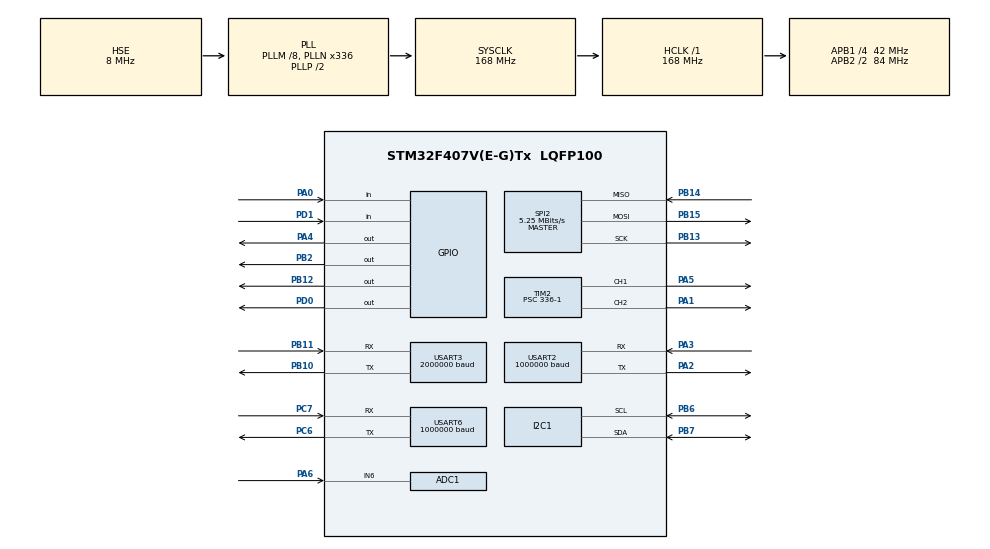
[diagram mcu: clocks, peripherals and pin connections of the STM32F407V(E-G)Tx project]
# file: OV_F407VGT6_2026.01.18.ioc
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ADC1.Channel-0\#ChannelRegularConversion=ADC_CHANNEL_6
ADC1.ContinuousConvMode=ENABLE
ADC1.DMAContinuousRequests=ENABLE
ADC1.NbrOfConversionFlag=1
ADC1.Rank-0\#ChannelRegularConversion=1
ADC1.SamplingTime-0\#ChannelRegularConversion=ADC_SAMPLETIME_84CYCLES
ADC1.master=1
Dma.ADC1.2.Direction=DMA_PERIPH_TO_MEMORY
Dma.ADC1.2.FIFOMode=DMA_FIFOMODE_DISABLE
Dma.ADC1.2.Instance=DMA2_Stream0
Dma.ADC1.2.MemDataAlignment=DMA_MDATAALIGN_HALFWORD
Dma.ADC1.2.MemInc=DMA_MINC_ENABLE
Dma.ADC1.2.Mode=DMA_CIRCULAR
Dma.ADC1.2.PeriphDataAlignment=DMA_PDATAALIGN_HALFWORD
Dma.ADC1.2.PeriphInc=DMA_PINC_DISABLE
Dma.ADC1.2.Priority=DMA_PRIORITY_VERY_HIGH
Dma.I2C1_TX.4.Direction=DMA_MEMORY_TO_PERIPH
Dma.I2C1_TX.4.FIFOMode=DMA_FIFOMODE_DISABLE
Dma.I2C1_TX.4.Instance=DMA1_Stream6
Dma.I2C1_TX.4.MemDataAlignment=DMA_MDATAALIGN_BYTE
Dma.I2C1_TX.4.MemInc=DMA_MINC_ENABLE
Dma.I2C1_TX.4.Mode=DMA_NORMAL
Dma.I2C1_TX.4.PeriphDataAlignment=DMA_PDATAALIGN_BYTE
Dma.I2C1_TX.4.PeriphInc=DMA_PINC_DISABLE
Dma.I2C1_TX.4.Priority=DMA_PRIORITY_LOW
Dma.Request0=USART2_RX
Dma.Request1=USART3_TX
Dma.Request2=ADC1
Dma.Request3=USART6_TX
Dma.Request4=I2C1_TX
Dma.USART2_RX.0.Direction=DMA_PERIPH_TO_MEMORY
Dma.USART2_RX.0.FIFOMode=DMA_FIFOMODE_DISABLE
Dma.USART2_RX.0.Instance=DMA1_Stream5
Dma.USART2_RX.0.MemDataAlignment=DMA_MDATAALIGN_BYTE
Dma.USART2_RX.0.MemInc=DMA_MINC_ENABLE
Dma.USART2_RX.0.Mode=DMA_CIRCULAR
Dma.USART2_RX.0.PeriphDataAlignment=DMA_PDATAALIGN_BYTE
Dma.USART2_RX.0.PeriphInc=DMA_PINC_DISABLE
Dma.USART2_RX.0.Priority=DMA_PRIORITY_LOW
Dma.USART3_TX.1.Direction=DMA_MEMORY_TO_PERIPH
Dma.USART3_TX.1.FIFOMode=DMA_FIFOMODE_DISABLE
Dma.USART3_TX.1.Instance=DMA1_Stream3
Dma.USART3_TX.1.MemDataAlignment=DMA_MDATAALIGN_BYTE
Dma.USART3_TX.1.MemInc=DMA_MINC_ENABLE
Dma.USART3_TX.1.Mode=DMA_NORMAL
Dma.USART3_TX.1.PeriphDataAlignment=DMA_PDATAALIGN_BYTE
Dma.USART3_TX.1.PeriphInc=DMA_PINC_DISABLE
Dma.USART3_TX.1.Priority=DMA_PRIORITY_VERY_HIGH
Dma.USART6_TX.3.Direction=DMA_MEMORY_TO_PERIPH
Dma.USART6_TX.3.FIFOMode=DMA_FIFOMODE_DISABLE
Dma.USART6_TX.3.Instance=DMA2_Stream6
Dma.USART6_TX.3.MemDataAlignment=DMA_MDATAALIGN_BYTE
Dma.USART6_TX.3.MemInc=DMA_MINC_ENABLE
Dma.USART6_TX.3.Mode=DMA_CIRCULAR
Dma.USART6_TX.3.PeriphDataAlignment=DMA_PDATAALIGN_BYTE
Dma.USART6_TX.3.PeriphInc=DMA_PINC_DISABLE
Dma.USART6_TX.3.Priority=DMA_PRIORITY_HIGH
I2C1.I2C_Mode=I2C_Fast
Mcu.Family=STM32F4
Mcu.Name=STM32F407V(E-G)Tx
Mcu.Package=LQFP100
NVIC.DMA1_Stream3_IRQn=true\:0\:0\:false\:false\:true\:false\:true\:true
NVIC.DMA1_Stream5_IRQn=true\:0\:0\:false\:false\:true\:false\:true\:true
NVIC.DMA1_Stream6_IRQn=true\:3\:1\:true\:false\:true\:false\:true\:true
NVIC.DMA2_Stream0_IRQn=true\:0\:0\:false\:false\:true\:false\:true\:true
NVIC.DMA2_Stream6_IRQn=true\:0\:0\:false\:false\:true\:false\:true\:true
NVIC.FLASH_IRQn=true\:0\:0\:false\:false\:true\:true\:true\:true
NVIC.I2C1_ER_IRQn=true\:2\:0\:true\:false\:true\:true\:true\:true
NVIC.I2C1_EV_IRQn=true\:3\:0\:true\:false\:true\:true\:true\:true
NVIC.PriorityGroup=NVIC_PRIORITYGROUP_3
NVIC.TIM1_UP_TIM10_IRQn=true\:2\:1\:true\:false\:true\:true\:true\:true
NVIC.TIM3_IRQn=true\:4\:0\:true\:false\:true\:true\:true\:true
NVIC.TIM4_IRQn=true\:2\:1\:true\:false\:true\:true\:true\:true
NVIC.USART2_IRQn=true\:3\:1\:true\:false\:true\:true\:true\:true
NVIC.USART3_IRQn=true\:3\:0\:true\:false\:true\:true\:true\:true
PA0-WKUP.Signal=GPIO_Input
PA1.Signal=S_TIM2_CH2
PA13.Mode=Serial_Wire
PA13.Signal=SYS_JTMS-SWDIO
PA14.Mode=Serial_Wire
PA14.Signal=SYS_JTCK-SWCLK
PA2.Mode=Asynchronous
PA2.Signal=USART2_TX
PA3.Mode=Asynchronous
PA3.Signal=USART2_RX
PA4.Signal=GPIO_Output
PA5.Signal=S_TIM2_CH1_ETR
PA6.Signal=ADCx_IN6
PB10.Mode=Asynchronous
PB10.Signal=USART3_TX
PB11.Mode=Asynchronous
PB11.Signal=USART3_RX
PB12.PinState=GPIO_PIN_SET
PB12.Signal=GPIO_Output
PB13.Mode=Full_Duplex_Master
PB13.Signal=SPI2_SCK
PB14.Mode=Full_Duplex_Master
PB14.Signal=SPI2_MISO
PB15.Mode=Full_Duplex_Master
PB15.Signal=SPI2_MOSI
PB2.PinState=GPIO_PIN_SET
PB2.Signal=GPIO_Output
PB6.Mode=I2C
PB6.Signal=I2C1_SCL
PB7.Mode=I2C
PB7.Signal=I2C1_SDA
PC14-OSC32_IN.Mode=LSE-External-Oscillator
PC14-OSC32_IN.Signal=RCC_OSC32_IN
PC15-OSC32_OUT.Mode=LSE-External-Oscillator
PC15-OSC32_OUT.Signal=RCC_OSC32_OUT
PC6.Mode=Asynchronous
PC6.Signal=USART6_TX
PC7.Mode=Asynchronous
PC7.Signal=USART6_RX
PD0.PinState=GPIO_PIN_SET
PD0.Signal=GPIO_Output
PD1.Signal=GPIO_Input
PH0-OSC_IN.Mode=HSE-External-Oscillator
PH0-OSC_IN.Signal=RCC_OSC_IN
PH1-OSC_OUT.Mode=HSE-External-Oscillator
PH1-OSC_OUT.Signal=RCC_OSC_OUT
ProjectManager.HeapSize=0x400
ProjectManager.StackSize=0x800
ProjectManager.TargetToolchain=MDK-ARM V5.32
RCC.48MHZClocksFreq_Value=84000000
RCC.AHBFreq_Value=168000000
RCC.APB1CLKDivider=RCC_HCLK_DIV4
RCC.APB1Freq_Value=42000000
RCC.APB1TimFreq_Value=84000000
RCC.APB2CLKDivider=RCC_HCLK_DIV2
RCC.APB2Freq_Value=84000000
RCC.APB2TimFreq_Value=168000000
RCC.CortexFreq_Value=168000000
RCC.HCLKFreq_Value=168000000
RCC.HSE_VALUE=8000000
RCC.HSI_VALUE=16000000
RCC.PLLM=8
RCC.PLLN=336
RCC.PLLSourceVirtual=RCC_PLLSOURCE_HSE
RCC.SYSCLKFreq_VALUE=168000000
RCC.SYSCLKSource=RCC_SYSCLKSOURCE_PLLCLK
RCC.VCOOutputFreq_Value=336000000
SH.ADCx_IN6.0=ADC1_IN6,IN6
SH.S_TIM2_CH1_ETR.0=TIM2_CH1,PWM Generation1 CH1
SH.S_TIM2_CH2.0=TIM2_CH2,PWM Generation2 CH2
SPI2.BaudRatePrescaler=SPI_BAUDRATEPRESCALER_8
SPI2.CLKPhase=SPI_PHASE_2EDGE
SPI2.CLKPolarity=SPI_POLARITY_HIGH
SPI2.CalculateBaudRate=5.25 MBits/s
SPI2.Direction=SPI_DIRECTION_2LINES
SPI2.Mode=SPI_MODE_MASTER
SPI2.VirtualType=VM_MASTER
TIM1.Period=10-1
TIM1.Prescaler=168-1
TIM2.AutoReloadPreload=TIM_AUTORELOAD_PRELOAD_ENABLE
TIM2.Channel-PWM\ Generation1\ CH1=TIM_CHANNEL_1
TIM2.Channel-PWM\ Generation2\ CH2=TIM_CHANNEL_2
TIM2.OCFastMode_PWM-PWM\ Generation1\ CH1=TIM_OCFAST_ENABLE
TIM2.OCFastMode_PWM-PWM\ Generation2\ CH2=TIM_OCFAST_ENABLE
TIM2.Period=50-1
TIM2.Prescaler=336-1
TIM2.Pulse-PWM\ Generation1\ CH1=25
TIM2.Pulse-PWM\ Generation2\ CH2=25
TIM3.Period=50-1
TIM3.Prescaler=336-1
TIM4.Period=10-1
TIM4.Prescaler=8400-1
TIM5.Period=25-1
TIM5.Prescaler=84-1
USART2.BaudRate=1000000
USART2.VirtualMode=VM_ASYNC
USART3.BaudRate=2000000
USART3.Mode=MODE_TX
USART3.VirtualMode=VM_ASYNC
USART6.BaudRate=1000000
USART6.Mode=MODE_TX
USART6.VirtualMode=VM_ASYNC
VP_TIM1_VS_ClockSourceINT.Mode=Internal
VP_TIM2_VS_ClockSourceINT.Mode=Internal
VP_TIM3_VS_ClockSourceINT.Mode=Internal
VP_TIM4_VS_ClockSourceINT.Mode=Internal
VP_TIM5_VS_ClockSourceINT.Mode=Internal
board=custom

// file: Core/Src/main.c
/* USER CODE BEGIN Header */
/**
 ******************************************************************************
 * @file           : main.c
 * @brief          : Main program body
 ******************************************************************************
 * @attention
 *
 * Copyright (c) 2026 STMicroelectronics.
 * All rights reserved.
 *
 * This software is licensed under terms that can be found in the LICENSE file
 * in the root directory of this software component.
 * If no LICENSE file comes with this software, it is provided AS-IS.
 *
 ******************************************************************************
 */
/* USER CODE END Header */
#include "main.h"
#include "adc.h"
#include "dma.h"
#include "i2c.h"
#include "spi.h"
#include "tim.h"
#include "usart.h"
#include "gpio.h"

/* USER CODE BEGIN Includes */
#include "task1_measurement.h"
#include "task3_pulse.h"
/* USER CODE END Includes */

/* USER CODE BEGIN PV */
SysWorkMode system_mode = MODE_MEASUREMENT;
/* >>>>>>>>>>>>>>>>>>>>>>>>>>>>>>> DRV8833 <<<<<<<<<<<<<<<<<<<<<<<<<<<<<< */
DRV_HandleTypeDef hdrv1;
/* >>>>>>>>>>>>>>>>>>>>>>>>>>>>>>> LDC1101 <<<<<<<<<<<<<<<<<<<<<<<<<<<<<< */
LDC_HandleTypeDef hldc1;
/* >>>>>>>>>>>>>>>>>>>>>>>>>>>>>>> LED <<<<<<<<<<<<<<<<<<<<<<<<<<<<<< */
LED_Handle_t hled1;
LED_Handle_t hled2;
/* >>>>>>>>>>>>>>>>>>>>>>>>>>>>>>> Calibrition <<<<<<<<<<<<<<<<<<<<<<<<<<<<<< */
float mean_episode[CAL_SAMPLE_EPISODE] = {0};
uint8_t cal_episode_cnt                = 0;
uint32_t cal_wait_start_tick           = 0;
uint32_t cal_sample_cnt                = 0;
uint64_t cal_sum                       = 0;
uint64_t cal_sum_sq                    = 0;
uint32_t cal_total_sample_cnt          = 0;

uint64_t cal_total_sum           = 0;
uint64_t cal_total_sum_sq        = 0;
volatile CalState_t cal_state    = CAL_IDLE;
uint16_t cal_current_position_um = 0;
/* >>>>>>>>>>>>>>>>>>>>>>>>>>>>>>> Button <<<<<<<<<<<<<<<<<<<<<<<<<<<<<< */
volatile bool button_scan_pending = false;
/* >>>>>>>>>>>>>>>>>>>>>>>>>>>>>>> LED <<<<<<<<<<<<<<<<<<<<<<<<<<<<<< */
volatile bool led_breath_enabled = false;
/* >>>>>>>>>>>>>>>>>>>>>>>>>>>>>>> ADC <<<<<<<<<<<<<<<<<<<<<<<<<<<<<< */
uint16_t adc_buf[2][ADC_BUF_LEN]                  = {0};
uint8_t UART6_tx_packet[2][ADC_UART_PACKET_BYTES] = {0};
volatile uint8_t UART6_sending_index              = UART6_TX_INDEX_NONE;
volatile uint8_t UART6_pending_index              = UART6_TX_INDEX_NONE;
volatile uint8_t UART6_tx_busy                    = 0;
/* USER CODE END PV */

void SystemClock_Config(void);

int main(void) {

    /* MCU Configuration--------------------------------------------------------*/

    /* Reset of all peripherals, Initializes the Flash interface and the Systick. */
    HAL_Init();

    /* Configure the system clock */
    SystemClock_Config();

    /* Initialize all configured peripherals */
    MX_GPIO_Init();
    MX_DMA_Init();
    MX_I2C1_Init();
    MX_SPI2_Init();
    MX_TIM2_Init();
    MX_USART2_UART_Init();
    MX_USART3_UART_Init();
    MX_TIM1_Init();
    MX_TIM3_Init();
    MX_TIM4_Init();
    MX_ADC1_Init();
    MX_USART6_UART_Init();
    MX_TIM5_Init();
    /* USER CODE BEGIN 2 */
    //*------------- Hardware Initialization -------------*//
    buttons_init();
    HAL_TIM_Base_Start_IT(&htim3);

    OLED_Init();
    OLED_Clear();
    OLED_Display_On();

    LED_Init(&hled1, &LED1_hardware);
    LED_Init(&hled2, &LED2_hardware);

    if (BSP_DRV_Init(&hdrv1, &DRV1_hardware) == DEVICE_OK)
        UART2_Log("INFO", __FUNCTION__, __LINE__, "DRV8833 Initialization Done...");
    if (ldc1101_init(&hldc1, &LDC1_hardware) != DEVICE_OK) {
        UART2_Log("ERROR", __FUNCTION__, __LINE__, "LDC1101 Initialization Failed...");
    } else {
        UART2_Log("INFO", __FUNCTION__, __LINE__, "LDC1101 Initialization Done...");
        if (ldc1101_writeConfig(&hldc1, &LDC_LHR_cfg, LDC_LHR_cfg_size) == DEVICE_OK) {
            UART2_Log("INFO", __FUNCTION__, __LINE__, "LDC1101 Configuration Done...");
            snprintf(UART2_TX_buffer, sizeof(UART2_TX_buffer), "LDC1101 sample rate: %.3f kSPS (RCOUNT=0x%04X)",
                     ldc1101_getLHRSampleRate(&hldc1) / 1000.0f, ldc1101_getLHRRCount(&hldc1));
            UART2_Log("TRACE", __FUNCTION__, __LINE__, UART2_TX_buffer);
        } else {
            UART2_Log("ERROR", __FUNCTION__, __LINE__, "LDC1101 Configuration Failed...");
        }
    }

    HAL_UART_Receive_DMA(&huart2, (uint8_t *)UART2_RX_DMA_buffer[UART2_RX_activeBuffer], MSG_LEN);
    __HAL_UART_ENABLE_IT(&huart2, UART_IT_IDLE);

    //*------------- Service Initialization -------------*//
    Oscillate_Init();
    LHRSample_Init();

    //*------------- Application Initialization -------------*//
    Task1_Measurement_Init();
    Task3_Pulse_Init();

    /* USER CODE END 2 */

    /* Infinite loop */
    /* USER CODE BEGIN WHILE */
    while (1) {
        if (system_mode == MODE_MEASUREMENT) {
            Task1_Measurement_Run();
        } else if (system_mode == MODE_CALIBRITION) {
            /* LDC Reading Control */
            // switch (cal_state) {
            //     case CAL_WAIT_SETTLE:
            //         if ((HAL_GetTick() - cal_wait_start_tick) >= CAL_SETTLE_TIME_MS) {
            //             cal_state = CAL_SAMPLING;
            //         } else {
            //             break;
            //         }
            //         /* fallthrough */
            //     case CAL_SAMPLING:
            //         HAL_TIM_Base_Stop_IT(&htim3);
            //         LDC_status = ldc1101_readByte(&hldc1, _LDC1101_REG_LHR_STATUS);
            //         if ((LDC_status & 0x01) == 0) {
            //             ldc2_dataReady = true;
            //         }
            //         if (ldc2_dataReady) {
            //             ldc2_dataReady = false;
            //             LHR_data       = ldc1101_getLHRData(&hldc1);
            //             cal_sample_cnt++;
            //             cal_sum += LHR_data;
            //             cal_sum_sq += (uint64_t)LHR_data * LHR_data;
            //             cal_total_sample_cnt++;
            //             cal_total_sum += LHR_data;
            //             cal_total_sum_sq += (uint64_t)LHR_data * LHR_data;
            //             // ===== Data Transmission =====
            //             if (cal_sample_cnt >= CAL_SAMPLE_NUM) {
            //                 cal_state = CAL_DONE;
            //             }
            //         }
            //         if (cal_state != CAL_DONE) {
            //             break;
            //         }
            //         /* fallthrough */
            //     case CAL_DONE: {
            //         float sample_cnt              = (float)cal_sample_cnt;
            //         float episode_mean            = (float)cal_sum / sample_cnt;
            //         mean_episode[cal_episode_cnt] = episode_mean;
            //         cal_episode_cnt++;

            //         if (cal_episode_cnt < CAL_SAMPLE_EPISODE) {
            //             cal_sample_cnt      = 0;
            //             cal_sum             = 0;
            //             cal_sum_sq          = 0;
            //             cal_wait_start_tick = HAL_GetTick();
            //             cal_state           = CAL_WAIT_SETTLE;
            //         } else {
            //             float total_cnt = (float)cal_total_sample_cnt;
            //             float mean      = (float)cal_total_sum / total_cnt;
            //             float var       = (float)cal_total_sum_sq / total_cnt - mean * mean;
            //             uint8_t cal_frame[11];
            //             /* Frame: [cal_current_position_um(2B)][mean(4B float LE)][var(4B float LE)][0xAA] */
            //             memcpy(&cal_frame[0], &cal_current_position_um, sizeof(cal_current_position_um));
            //             memcpy(&cal_frame[2], &mean, sizeof(float));
            //             memcpy(&cal_frame[6], &var, sizeof(float));
            //             cal_frame[10] = 0xAA;

            //             bool enqueued = UART3_Enqueue(cal_frame, sizeof(cal_frame));
            //             if (enqueued) {
            //                 UART3_StartTx();
            //             }
            //             if (CALIBRITION_STEP_DIR == 1) // 减少
            //                 cal_current_position_um -= CALIBRITION_STEP_UM;
            //             else if (CALIBRITION_STEP_DIR == 0) // 原地观测
            //                 ;
            //             else if (CALIBRITION_STEP_DIR == -1) // 增加
            //                 cal_current_position_um += CALIBRITION_STEP_UM;
            //             cal_state = CAL_IDLE; // ready for the next button-triggered sampling
            //             HAL_GPIO_TogglePin(LED3_PORT, LED3_PIN);
            //             HAL_TIM_Base_Start_IT(&htim3);
            //         }
            //         break;
            // }
            // default:
            //     break;
        } else if (system_mode == MODE_PULSE_FEEDBACK) {
            Task3_Pulse_Run();
        }
        if (OLED_GetUpdatePending()) {
            OLED_Update(system_mode);
        }
        if (button_scan_pending) {
            button_scan_pending = false;
            button_ticks();
        }
        /* UART2 Transmission */
        if (UART2_TX_send) {
            HAL_UART_Transmit(&huart2, (uint8_t *)UART2_TX_buffer, strlen(UART2_TX_buffer), 0x0100);
            UART2_TX_send = false;
            memset(UART2_TX_buffer, 0, MSG_LEN);
        }
    }

    /* USER CODE END WHILE */

}

void SystemClock_Config(void) {
    RCC_OscInitTypeDef RCC_OscInitStruct = {0};
    RCC_ClkInitTypeDef RCC_ClkInitStruct = {0};

    /** Configure the main internal regulator output voltage
     */
    __HAL_RCC_PWR_CLK_ENABLE();
    __HAL_PWR_VOLTAGESCALING_CONFIG(PWR_REGULATOR_VOLTAGE_SCALE1);

    /** Initializes the RCC Oscillators according to the specified parameters
     * in the RCC_OscInitTypeDef structure.
     */
    RCC_OscInitStruct.OscillatorType = RCC_OSCILLATORTYPE_HSE;
    RCC_OscInitStruct.HSEState       = RCC_HSE_ON;
    RCC_OscInitStruct.PLL.PLLState   = RCC_PLL_ON;
    RCC_OscInitStruct.PLL.PLLSource  = RCC_PLLSOURCE_HSE;
    RCC_OscInitStruct.PLL.PLLM       = 8;
    RCC_OscInitStruct.PLL.PLLN       = 336;
    RCC_OscInitStruct.PLL.PLLP       = RCC_PLLP_DIV2;
    RCC_OscInitStruct.PLL.PLLQ       = 4;
    if (HAL_RCC_OscConfig(&RCC_OscInitStruct) != HAL_OK) {
        Error_Handler();
    }

    /** Initializes the CPU, AHB and APB buses clocks
     */
    RCC_ClkInitStruct.ClockType = RCC_CLOCKTYPE_HCLK | RCC_CLOCKTYPE_SYSCLK | RCC_CLOCKTYPE_PCLK1 | RCC_CLOCKTYPE_PCLK2;
    RCC_ClkInitStruct.SYSCLKSource   = RCC_SYSCLKSOURCE_PLLCLK;
    RCC_ClkInitStruct.AHBCLKDivider  = RCC_SYSCLK_DIV1;
    RCC_ClkInitStruct.APB1CLKDivider = RCC_HCLK_DIV4;
    RCC_ClkInitStruct.APB2CLKDivider = RCC_HCLK_DIV2;

    if (HAL_RCC_ClockConfig(&RCC_ClkInitStruct, FLASH_LATENCY_5) != HAL_OK) {
        Error_Handler();
    }
}

void Error_Handler(void) {
    __disable_irq();
    while (1) {
    }
}
